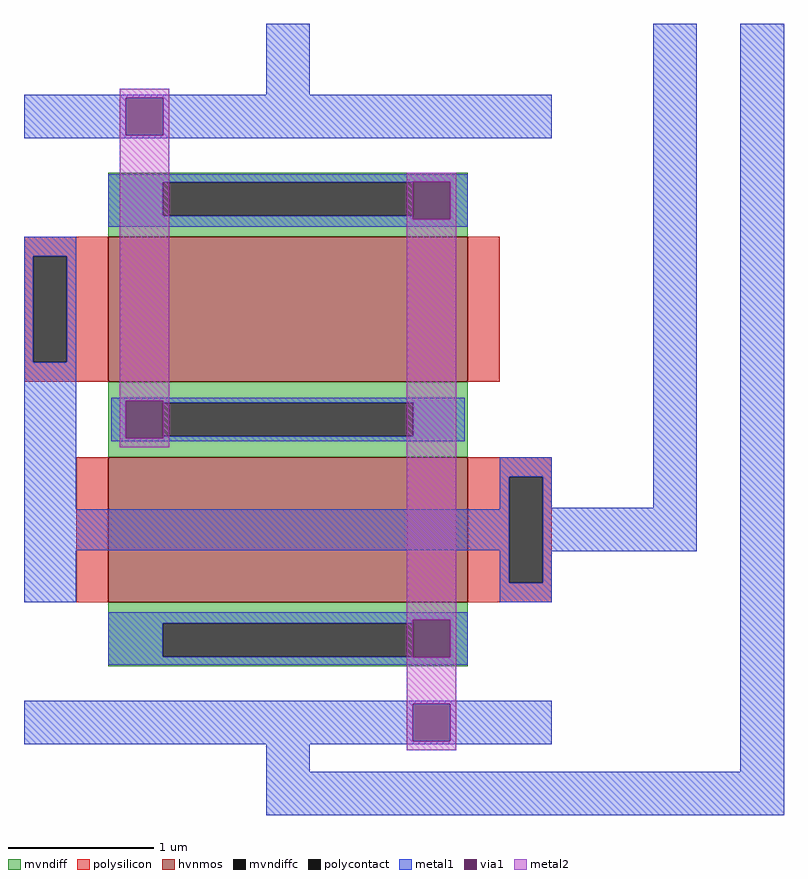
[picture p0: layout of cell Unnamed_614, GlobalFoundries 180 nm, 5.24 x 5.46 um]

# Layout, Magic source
magic
tech gf180mcuD
magscale 1 10
<< hvnmos >>
rect -496 318 0 518
rect -496 14 0 214
<< mvndiff >>
rect -496 593 0 606
rect -496 547 -421 593
rect -75 547 0 593
rect -496 518 0 547
rect -496 289 0 318
rect -496 243 -421 289
rect -75 243 0 289
rect -496 214 0 243
rect -496 -15 0 14
rect -496 -61 -421 -15
rect -75 -61 0 -15
rect -496 -74 0 -61
<< mvndiffc >>
rect -421 547 -75 593
rect -421 243 -75 289
rect -421 -61 -75 -15
<< polysilicon >>
rect -612 491 -496 518
rect -612 345 -599 491
rect -553 345 -496 491
rect -612 318 -496 345
rect 0 318 44 518
rect -540 14 -496 214
rect 0 187 116 214
rect 0 41 57 187
rect 103 41 116 187
rect 0 14 116 41
<< polycontact >>
rect -599 345 -553 491
rect 57 41 103 187
<< metal1 >>
rect -278 714 -218 812
rect -612 710 116 714
rect -612 658 -472 710
rect -420 658 116 710
rect -612 654 116 658
rect -496 594 0 604
rect -496 593 -76 594
rect -496 547 -421 593
rect -496 542 -76 547
rect -24 542 0 594
rect -496 532 0 542
rect -612 491 -540 518
rect -612 345 -599 491
rect -553 345 -540 491
rect -612 142 -540 345
rect -492 292 -4 296
rect -492 240 -472 292
rect -420 289 -4 292
rect -75 243 -4 289
rect -420 240 -4 243
rect -492 236 -4 240
rect 44 187 116 214
rect 44 142 57 187
rect -612 86 57 142
rect -612 14 -540 86
rect 44 41 57 86
rect 103 144 116 187
rect 256 144 316 812
rect 103 84 316 144
rect 103 41 116 84
rect 44 14 116 41
rect -496 -10 0 0
rect -496 -15 -76 -10
rect -496 -61 -421 -15
rect -496 -62 -76 -61
rect -24 -62 0 -10
rect -496 -72 0 -62
rect -612 -126 116 -122
rect -612 -178 -76 -126
rect -24 -178 116 -126
rect -612 -182 116 -178
rect -278 -220 -218 -182
rect 376 -220 436 812
rect -278 -280 436 -220
<< via1 >>
rect -472 658 -420 710
rect -76 593 -24 594
rect -76 547 -75 593
rect -75 547 -24 593
rect -76 542 -24 547
rect -472 289 -420 292
rect -472 243 -421 289
rect -421 243 -420 289
rect -472 240 -420 243
rect -76 -15 -24 -10
rect -76 -61 -75 -15
rect -75 -61 -24 -15
rect -76 -62 -24 -61
rect -76 -178 -24 -126
<< metal2 >>
rect -480 710 -412 722
rect -480 658 -472 710
rect -420 658 -412 710
rect -480 292 -412 658
rect -480 240 -472 292
rect -420 240 -412 292
rect -480 228 -412 240
rect -84 594 -16 606
rect -84 542 -76 594
rect -24 542 -16 594
rect -84 -10 -16 542
rect -84 -62 -76 -10
rect -24 -62 -16 -10
rect -84 -126 -16 -62
rect -84 -178 -76 -126
rect -24 -178 -16 -126
rect -84 -190 -16 -178
<< end >>
